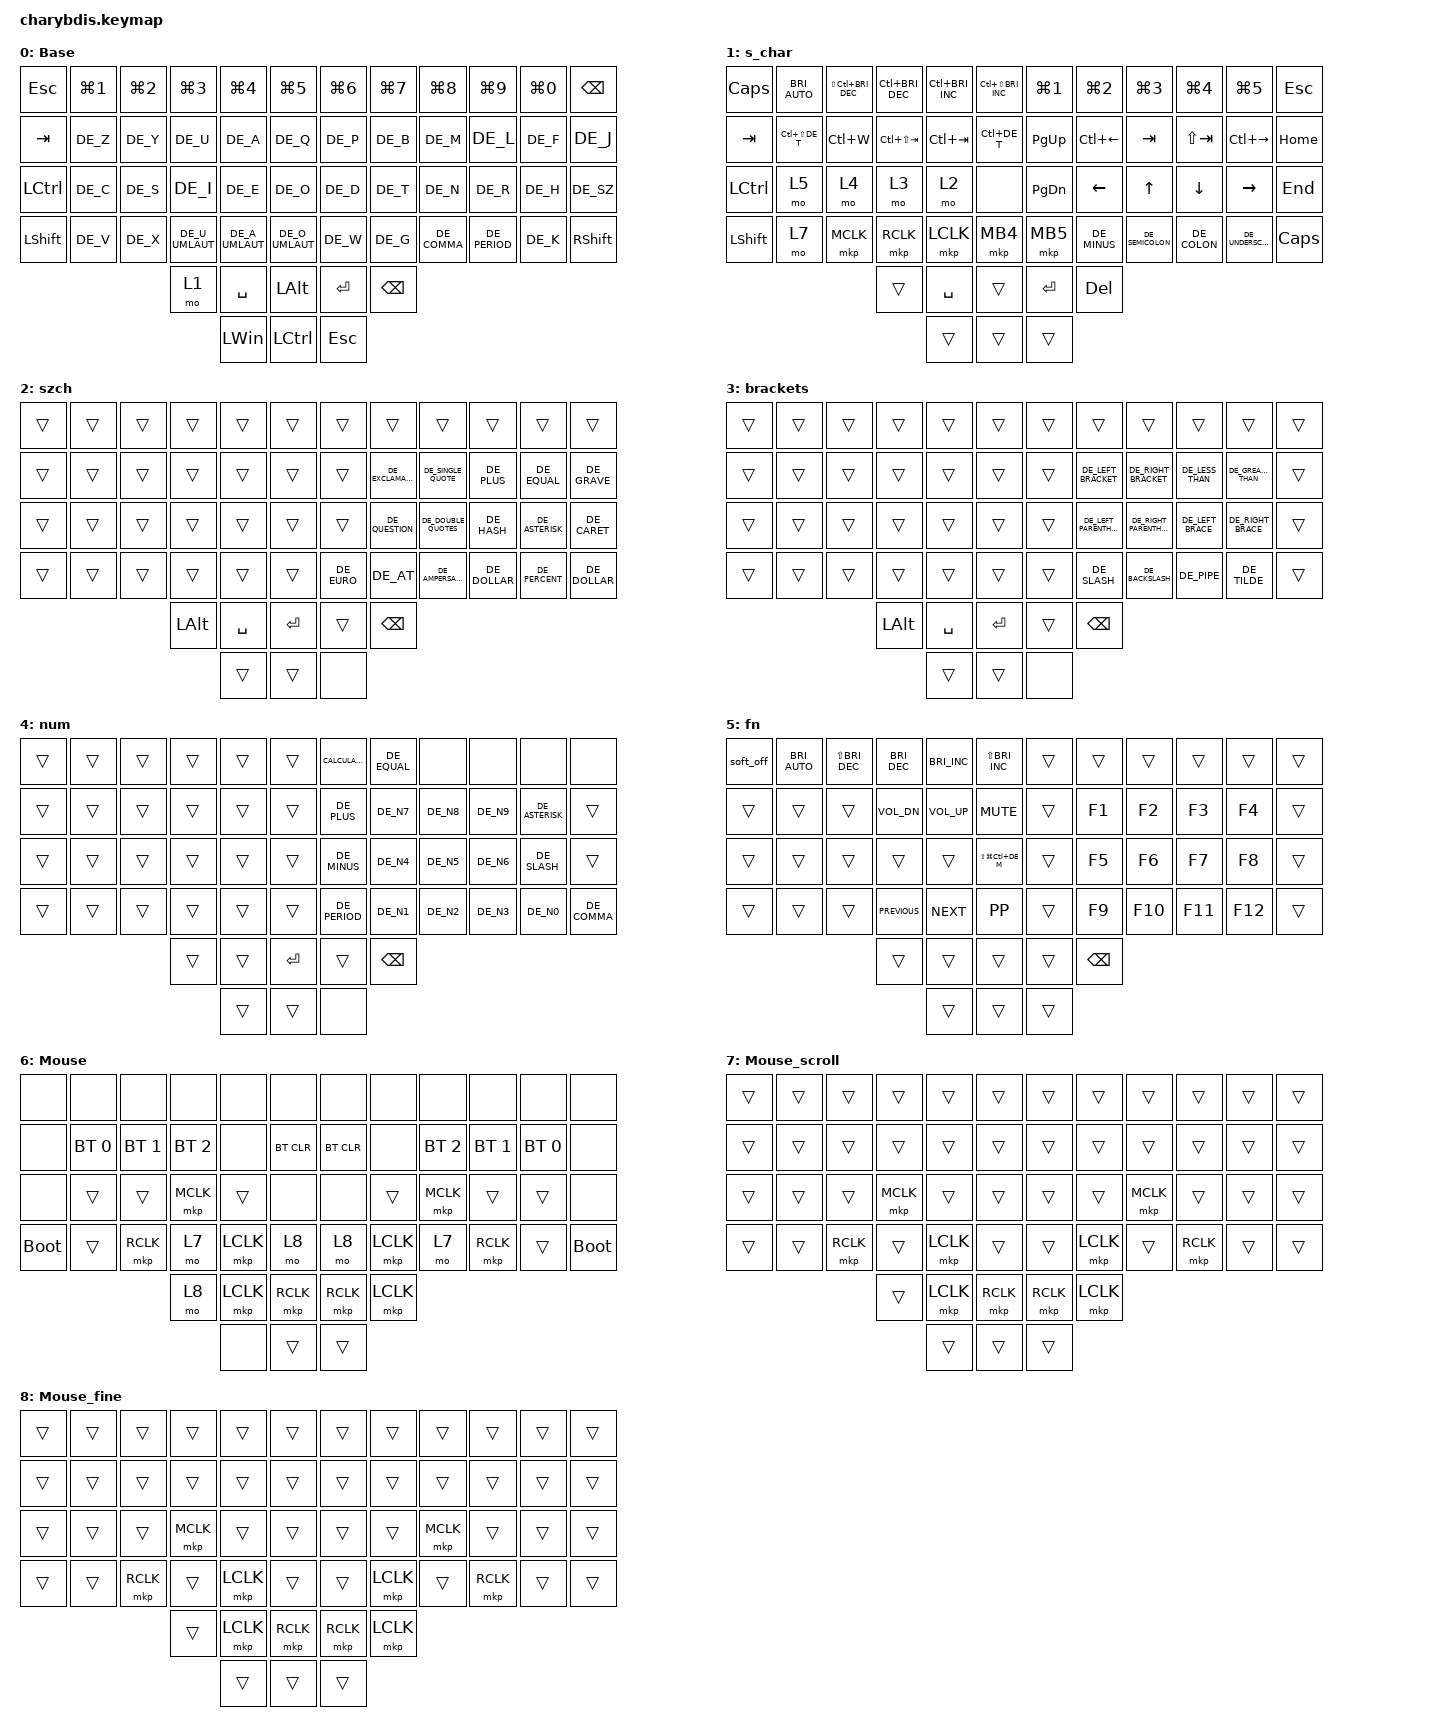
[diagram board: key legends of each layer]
#include <behaviors.dtsi>
#include <dt-bindings/zmk/bt.h>
#include <dt-bindings/zmk/keys.h>
#include <dt-bindings/zmk/pointing.h>
#include "keys_de.h"

#define Base 0
#define s_char 1
#define szch 2
#define brackets 3
#define num 4
#define fn 5
#define Mouse 6
#define Mouse_scroll 7
#define Mouse_fine 8

/ {
    combos { compatible = "zmk,combos"; };

    keymap {
        compatible = "zmk,keymap";

        /* ---------------- Base ---------------- */

        Base {
            bindings = <
&kp ESC    &kp LG(N1)  &kp LG(N2)  &kp LG(N3)       &kp LG(N4)       &kp LG(N5)          &kp LG(N6)  &kp LG(N7)     &kp LG(N8)    &kp LG(N9)     &kp LG(N0)  &kp BSPC
&kp TAB    &kp DE_Z    &kp DE_Y    &kp DE_U         &kp DE_A         &kp DE_Q            &kp DE_P    &kp DE_B       &kp DE_M      &kp DE_L       &kp DE_F    &kp DE_J
&kp LCTRL  &kp DE_C    &kp DE_S    &kp DE_I         &kp DE_E         &kp DE_O            &kp DE_D    &kp DE_T       &kp DE_N      &kp DE_R       &kp DE_H    &kp DE_SZ
&kp LSHFT  &kp DE_V    &kp DE_X    &kp DE_U_UMLAUT  &kp DE_A_UMLAUT  &kp DE_O_UMLAUT     &kp DE_W    &kp DE_G       &kp DE_COMMA  &kp DE_PERIOD  &kp DE_K    &kp RSHFT
                                   &mo 1            &kp SPACE        &kp LEFT_ALT        &kp RETURN  &kp BACKSPACE
                                                    &kp LEFT_WIN     &kp LEFT_CONTROL    &kp ESCAPE
            >;
        };

        /* ---------------- s_char ---------------- */

        s_char {
            bindings = <
&kp CAPSLOCK    &kp C_BRIGHTNESS_AUTO  &kp LS(LC(C_BRIGHTNESS_DEC))  &kp LC(C_BRIGHTNESS_DEC)  &kp LC(C_BRIGHTNESS_INC)  &kp LC(LS(C_BRIGHTNESS_INC))    &kp LG(N1)  &kp LG(N2)    &kp LG(N3)        &kp LG(NUMBER_4)  &kp LG(NUMBER_5)   &kp ESCAPE
&kp TAB         &kp LC(LS(DE_T))       &kp LC(W)                     &kp LC(LS(TAB))           &kp LC(TAB)               &kp LC(DE_T)                    &kp PG_UP   &kp LC(LEFT)  &kp TAB           &kp LS(TAB)       &kp LC(RIGHT)      &kp HOME
&kp LCTRL       &mo 5                  &mo 4                         &mo 3                     &mo 2                     &none                           &kp PG_DN   &kp LEFT      &kp UP            &kp DOWN          &kp RIGHT          &kp END
&kp LEFT_SHIFT  &mo 7                  &mkp MCLK                     &mkp RCLK                 &mkp LCLK                 &mkp MB4                        &mkp MB5    &kp DE_MINUS  &kp DE_SEMICOLON  &kp DE_COLON      &kp DE_UNDERSCORE  &kp CAPSLOCK
                                                                     &trans                    &kp SPACE                 &trans                          &kp ENTER   &kp DELETE
                                                                                               &trans                    &trans                          &trans
            >;
        };

        /* ---------------- szch ---------------- */

        szch {
            bindings = <
&trans  &trans  &trans  &trans        &trans     &trans       &trans       &trans              &trans                &trans         &trans           &trans
&trans  &trans  &trans  &trans        &trans     &trans       &trans       &kp DE_EXCLAMATION  &kp DE_SINGLE_QUOTE   &kp DE_PLUS    &kp DE_EQUAL     &kp DE_GRAVE
&trans  &trans  &trans  &trans        &trans     &trans       &trans       &kp DE_QUESTION     &kp DE_DOUBLE_QUOTES  &kp DE_HASH    &kp DE_ASTERISK  &kp DE_CARET
&trans  &trans  &trans  &trans        &trans     &trans       &kp DE_EURO  &kp DE_AT           &kp DE_AMPERSAND      &kp DE_DOLLAR  &kp DE_PERCENT   &kp DE_DOLLAR
                        &kp LEFT_ALT  &kp SPACE  &kp ENTER    &trans       &kp BACKSPACE
                                      &trans     &trans       &none
            >;
        };

        /* ---------------- brackets ---------------- */

        brackets {
            bindings = <
&trans  &trans  &trans  &trans        &trans     &trans       &trans  &trans                   &trans                    &trans             &trans               &trans
&trans  &trans  &trans  &trans        &trans     &trans       &trans  &kp DE_LEFT_BRACKET      &kp DE_RIGHT_BRACKET      &kp DE_LESS_THAN   &kp DE_GREATER_THAN  &trans
&trans  &trans  &trans  &trans        &trans     &trans       &trans  &kp DE_LEFT_PARENTHESIS  &kp DE_RIGHT_PARENTHESIS  &kp DE_LEFT_BRACE  &kp DE_RIGHT_BRACE   &trans
&trans  &trans  &trans  &trans        &trans     &trans       &trans  &kp DE_SLASH             &kp DE_BACKSLASH          &kp DE_PIPE        &kp DE_TILDE         &trans
                        &kp LEFT_ALT  &kp SPACE  &kp ENTER    &trans  &kp BACKSPACE
                                      &trans     &trans       &none
            >;
        };

        /* ---------------- num ---------------- */

        num {
            bindings = <
&trans  &trans  &trans  &trans  &trans  &trans       &kp K_CALCULATOR  &kp DE_EQUAL   &none      &none      &none            &none
&trans  &trans  &trans  &trans  &trans  &trans       &kp DE_PLUS       &kp DE_N7      &kp DE_N8  &kp DE_N9  &kp DE_ASTERISK  &trans
&trans  &trans  &trans  &trans  &trans  &trans       &kp DE_MINUS      &kp DE_N4      &kp DE_N5  &kp DE_N6  &kp DE_SLASH     &trans
&trans  &trans  &trans  &trans  &trans  &trans       &kp DE_PERIOD     &kp DE_N1      &kp DE_N2  &kp DE_N3  &kp DE_N0        &kp DE_COMMA
                        &trans  &trans  &kp ENTER    &trans            &kp BACKSPACE
                                &trans  &trans       &none
            >;
        };

        /* ---------------- fn ---------------- */

        fn {
            bindings = <
&soft_off  &kp C_BRIGHTNESS_AUTO  &kp LS(C_BRIGHTNESS_DEC)  &kp C_BRIGHTNESS_DEC  &kp C_BRIGHTNESS_INC  &kp LS(C_BRIGHTNESS_INC)    &trans  &trans         &trans   &trans   &trans   &trans
&trans     &trans                 &trans                    &kp C_VOL_DN          &kp C_VOL_UP          &kp C_MUTE                  &trans  &kp F1         &kp F2   &kp F3   &kp F4   &trans
&trans     &trans                 &trans                    &trans                &trans                &kp LS(LG(LC(DE_M)))        &trans  &kp F5         &kp F6   &kp F7   &kp F8   &trans
&trans     &trans                 &trans                    &kp K_PREVIOUS        &kp K_NEXT            &kp K_PP                    &trans  &kp F9         &kp F10  &kp F11  &kp F12  &trans
                                                            &trans                &trans                &trans                      &trans  &kp BACKSPACE
                                                                                  &trans                &trans                      &trans
            >;
        };

        /* ---------------- Mouse ---------------- */

        Mouse {
            bindings = <
&none        &none         &none         &none         &none      &none         &none       &none      &none         &none         &none         &none
&none        &bt BT_SEL 0  &bt BT_SEL 1  &bt BT_SEL 2  &none      &bt BT_CLR    &bt BT_CLR  &none      &bt BT_SEL 2  &bt BT_SEL 1  &bt BT_SEL 0  &none
&none        &trans        &trans        &mkp MCLK     &trans     &none         &none       &trans     &mkp MCLK     &trans        &trans        &none
&bootloader  &trans        &mkp RCLK     &mo 7         &mkp LCLK  &mo 8         &mo 8       &mkp LCLK  &mo 7         &mkp RCLK     &trans        &bootloader
                                         &mo 8         &mkp LCLK  &mkp RCLK     &mkp RCLK   &mkp LCLK
                                                       &none      &trans        &trans
            >;
        };

        /* ---------------- Mouse_scroll ---------------- */

        Mouse_scroll {
            bindings = <
&trans  &trans  &trans     &trans     &trans     &trans       &trans     &trans     &trans     &trans     &trans  &trans
&trans  &trans  &trans     &trans     &trans     &trans       &trans     &trans     &trans     &trans     &trans  &trans
&trans  &trans  &trans     &mkp MCLK  &trans     &trans       &trans     &trans     &mkp MCLK  &trans     &trans  &trans
&trans  &trans  &mkp RCLK  &trans     &mkp LCLK  &trans       &trans     &mkp LCLK  &trans     &mkp RCLK  &trans  &trans
                           &trans     &mkp LCLK  &mkp RCLK    &mkp RCLK  &mkp LCLK
                                      &trans     &trans       &trans
            >;
        };

        /* ---------------- Mouse_fine ---------------- */

        Mouse_fine {
            bindings = <
&trans  &trans  &trans     &trans     &trans     &trans       &trans     &trans     &trans     &trans     &trans  &trans
&trans  &trans  &trans     &trans     &trans     &trans       &trans     &trans     &trans     &trans     &trans  &trans
&trans  &trans  &trans     &mkp MCLK  &trans     &trans       &trans     &trans     &mkp MCLK  &trans     &trans  &trans
&trans  &trans  &mkp RCLK  &trans     &mkp LCLK  &trans       &trans     &mkp LCLK  &trans     &mkp RCLK  &trans  &trans
                           &trans     &mkp LCLK  &mkp RCLK    &mkp RCLK  &mkp LCLK
                                      &trans     &trans       &trans
            >;
        };
    };
};
